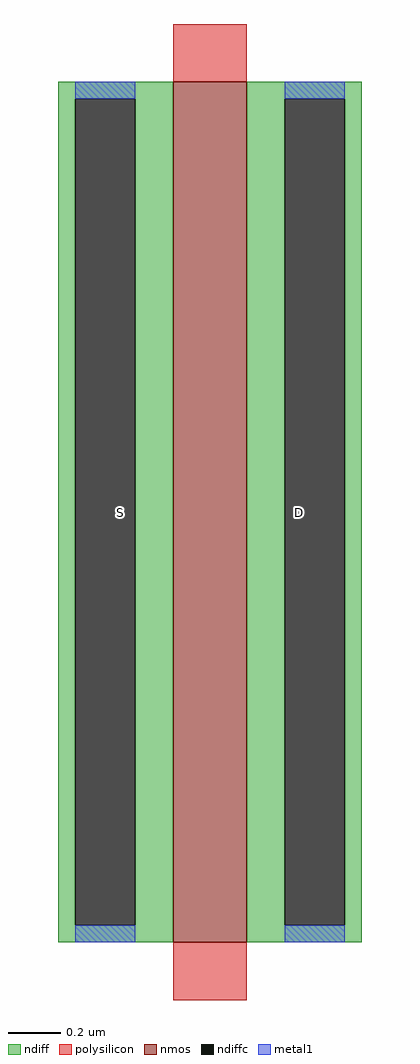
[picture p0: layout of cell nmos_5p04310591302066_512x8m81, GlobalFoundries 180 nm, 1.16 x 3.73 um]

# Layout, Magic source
magic
tech gf180mcuD
magscale 1 10
<< nmos >>
rect 0 0 56 657
<< ndiff >>
rect -88 644 0 657
rect -88 13 -75 644
rect -29 13 0 644
rect -88 0 0 13
rect 56 644 144 657
rect 56 13 85 644
rect 131 13 144 644
rect 56 0 144 13
<< ndiffc >>
rect -75 13 -29 644
rect 85 13 131 644
<< polysilicon >>
rect 0 657 56 701
rect 0 -44 56 0
<< metal1 >>
rect -75 644 -29 657
rect -75 0 -29 13
rect 85 644 131 657
rect 85 0 131 13
<< labels >>
flabel ndiffc -40 328 -40 328 0 FreeSans 93 0 0 0 S
flabel ndiffc 96 328 96 328 0 FreeSans 93 0 0 0 D
<< end >>
